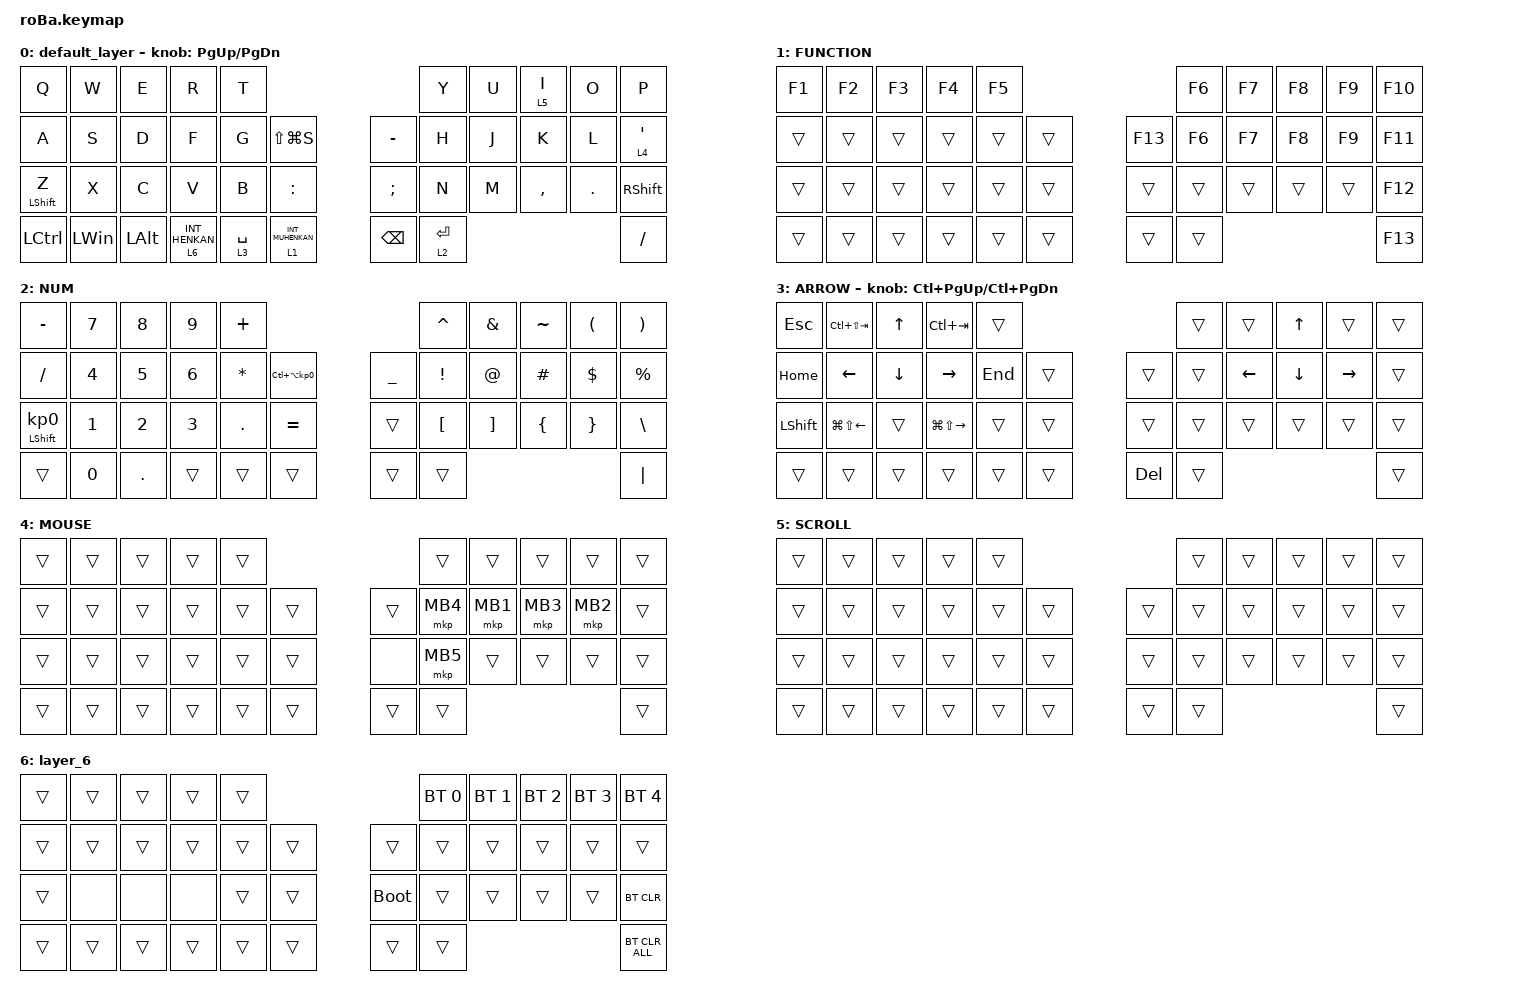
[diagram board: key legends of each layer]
#include <behaviors.dtsi>
#include <dt-bindings/zmk/bt.h>
#include <dt-bindings/zmk/keys.h>
#include <dt-bindings/zmk/pointing.h>
#include <input/processors.dtsi>

&mt {
    flavor = "balanced";
    quick-tap-ms = <0>;
};

#define AML 4

&trackball {
    scroll-layers = <5>;

    // arrows {
    //     layers = <3>;
    //     bindings =
    //         <&kp RIGHT_ARROW>,
    //         <&kp LEFT_ARROW>,
    //         <&kp UP_ARROW>,
    //         <&kp DOWN_ARROW>;
    //     tick = <10>;
    //     wait-ms = <5>;
    //     tap-ms = <5>;
    // };
};

/ {
    zip_temp_layer_threshold: zip_temp_layer_threshold {
        compatible = "zmk,input-processor-temp-layer-threshold";
        #input-processor-cells = <2>;

        threshold = <15>;
        reset-timeout-ms = <200>;
        require-prior-idle-ms = <300>;
    };

    trackball_listener {
        compatible = "zmk,input-listener";
        device = <&trackball>;
        input-processors = <&zip_temp_layer_threshold AML 700>;
    };

    combos {
        compatible = "zmk,combos";

        // 以下は既存のまま
    };
};

/ {
    combos {
        compatible = "zmk,combos";

        tab {
            bindings = <&kp TAB>;
            key-positions = <11 12>;
        };

        shift_tab {
            bindings = <&kp LS(TAB)>;
            key-positions = <12 13>;
        };

        muhennkann {
            bindings = <&to_layer_0 INT_MUHENKAN>;
            key-positions = <11 10>;
        };

        double_quotation {
            bindings = <&kp DOUBLE_QUOTES>;
            key-positions = <20 21>;
        };

        eq {
            bindings = <&kp EQUAL>;
            key-positions = <24 25>;
        };
    };

    macros {
        to_layer_0: to_layer_0 {
            compatible = "zmk,behavior-macro-one-param";
            #binding-cells = <1>;
            bindings = <&to 0 &macro_param_1to1 &kp MACRO_PLACEHOLDER>;
            label = "TO_LAYER_0";
        };
    };

    behaviors {
        lt_to_layer_0: lt_to_layer_0 {
            compatible = "zmk,behavior-hold-tap";
            label = "LAYER_TAP_TO_0";
            bindings = <&mo>, <&to_layer_0>;

            #binding-cells = <2>;
            tapping-term-ms = <200>;
        };
    };

    keymap {
        compatible = "zmk,keymap";

        default_layer {
            bindings = <
&kp Q             &kp W         &kp E         &kp R                        &kp T                                                          &kp Y        &kp U  &lt 5 I    &kp O    &kp P
&kp A             &kp S         &kp D         &kp F                        &kp G        &kp LS(LG(S))                      &kp MINUS      &kp H        &kp J  &kp K      &kp L    &lt 4 SQT
&mt LEFT_SHIFT Z  &kp X         &kp C         &kp V                        &kp B        &kp COLON                          &kp SEMICOLON  &kp N        &kp M  &kp COMMA  &kp DOT  &kp RIGHT_SHIFT
&kp LCTRL         &kp LEFT_WIN  &kp LEFT_ALT  &lt_to_layer_0 6 INT_HENKAN  &lt 3 SPACE  &lt_to_layer_0 1 INT_MUHENKAN      &kp BACKSPACE  &lt 2 ENTER                             &kp SLASH
            >;

            sensor-bindings = <&inc_dec_kp PG_UP PAGE_DOWN>;
        };

        FUNCTION {
            bindings = <
&kp F1  &kp F2  &kp F3  &kp F4  &kp F5                       &kp F6  &kp F7  &kp F8  &kp F9  &kp F10
&trans  &trans  &trans  &trans  &trans  &trans      &kp F13  &kp F6  &kp F7  &kp F8  &kp F9  &kp F11
&trans  &trans  &trans  &trans  &trans  &trans      &trans   &trans  &trans  &trans  &trans  &kp F12
&trans  &trans  &trans  &trans  &trans  &trans      &trans   &trans                          &kp F13
            >;
        };

        NUM {
            bindings = <
&kp MINUS                   &kp N7        &kp N8        &kp N9  &kp PLUS                                                   &kp CARET         &kp AMPERSAND      &kp TILDE       &kp LEFT_PARENTHESIS  &kp RIGHT_PARENTHESIS
&kp SLASH                   &kp N4        &kp N5        &kp N6  &kp ASTERISK  &kp LC(LA(KP_NUMBER_0))      &kp UNDERSCORE  &kp EXCLAMATION   &kp AT_SIGN        &kp HASH        &kp DOLLAR            &kp PERCENT
&mt LEFT_SHIFT KP_NUMBER_0  &kp NUMBER_1  &kp NUMBER_2  &kp N3  &kp PERIOD    &kp EQUAL                    &trans          &kp LEFT_BRACKET  &kp RIGHT_BRACKET  &kp LEFT_BRACE  &kp RIGHT_BRACE       &kp BACKSLASH
&trans                      &kp N0        &kp PERIOD    &trans  &trans        &trans                       &trans          &trans                                                                     &kp PIPE
            >;
        };

        ARROW {
            bindings = <
&kp ESCAPE      &kp LC(LS(TAB))         &kp UP_ARROW    &kp LC(TAB)              &trans                           &trans  &trans          &kp UP_ARROW    &trans           &trans
&kp HOME        &kp LEFT_ARROW          &kp DOWN_ARROW  &kp RIGHT_ARROW          &kp END  &trans      &trans      &trans  &kp LEFT_ARROW  &kp DOWN_ARROW  &kp RIGHT_ARROW  &trans
&kp LEFT_SHIFT  &kp LG(LS(LEFT_ARROW))  &trans          &kp LG(LS(RIGHT_ARROW))  &trans   &trans      &trans      &trans  &trans          &trans          &trans           &trans
&trans          &trans                  &trans          &trans                   &trans   &trans      &kp DELETE  &trans                                                   &trans
            >;

            sensor-bindings = <&inc_dec_kp LC(PAGE_UP) LC(PAGE_DOWN)>;
        };

        MOUSE {
            bindings = <
&trans  &trans  &trans  &trans  &trans                      &trans    &trans    &trans    &trans    &trans
&trans  &trans  &trans  &trans  &trans  &trans      &trans  &mkp MB4  &mkp MB1  &mkp MB3  &mkp MB2  &trans
&trans  &trans  &trans  &trans  &trans  &trans      &none   &mkp MB5  &trans    &trans    &trans    &trans
&trans  &trans  &trans  &trans  &trans  &trans      &trans  &trans                                  &trans
            >;
        };

        SCROLL {
            bindings = <
&trans  &trans  &trans  &trans  &trans                      &trans  &trans  &trans  &trans  &trans
&trans  &trans  &trans  &trans  &trans  &trans      &trans  &trans  &trans  &trans  &trans  &trans
&trans  &trans  &trans  &trans  &trans  &trans      &trans  &trans  &trans  &trans  &trans  &trans
&trans  &trans  &trans  &trans  &trans  &trans      &trans  &trans                          &trans
            >;
        };

        layer_6 {
            bindings = <
&trans  &trans  &trans  &trans  &trans                           &bt BT_SEL 0  &bt BT_SEL 1  &bt BT_SEL 2  &bt BT_SEL 3  &bt BT_SEL 4
&trans  &trans  &trans  &trans  &trans  &trans      &trans       &trans        &trans        &trans        &trans        &trans
&trans  &none   &none   &none   &trans  &trans      &bootloader  &trans        &trans        &trans        &trans        &bt BT_CLR
&trans  &trans  &trans  &trans  &trans  &trans      &trans       &trans                                                  &bt BT_CLR_ALL
            >;
        };
    };
};
